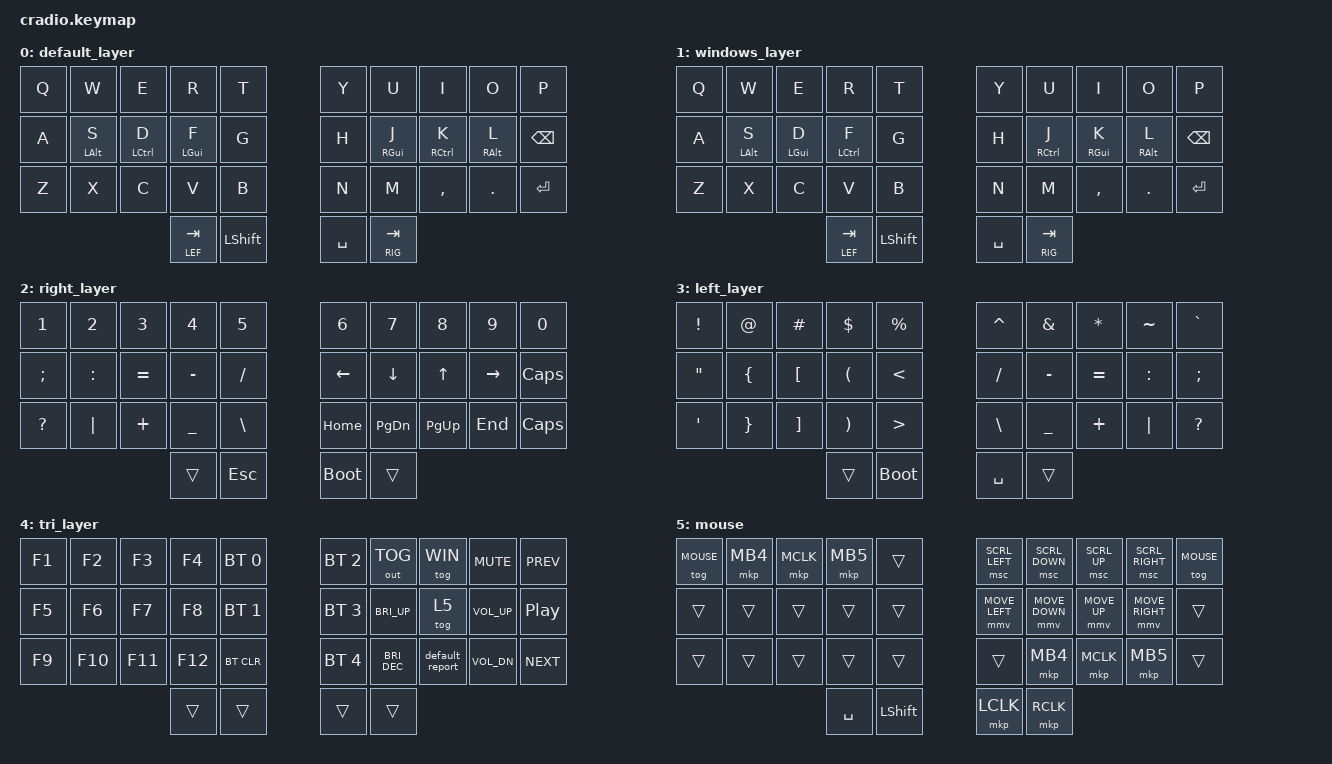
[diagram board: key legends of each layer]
// Copyright (c) 2022 The ZMK Contributors
// SPDX-License-Identifier: MIT

#define ZMK_MOUSE_DEFAULT_MOVE_VAL 2500  // 600
#define ZMK_MOUSE_DEFAULT_SCRL_VAL 20    // 10

#include <behaviors.dtsi>
#include <dt-bindings/zmk/bt.h>
#include <dt-bindings/zmk/keys.h>
#include <dt-bindings/zmk/mouse.h>
#include <dt-bindings/zmk/outputs.h>

#define MAC 0
#define WIN 1
#define RIG 2
#define LEF 3
#define TRI 4
#define MOUSE 5
#define U_MS_U &mmv MOVE_UP
#define U_MS_D &mmv MOVE_DOWN
#define U_MS_L &mmv MOVE_LEFT
#define U_MS_R &mmv MOVE_RIGHT
#define U_WH_U &msc SCRL_UP
#define U_WH_D &msc SCRL_DOWN
#define U_WH_L &msc SCRL_LEFT
#define U_WH_R &msc SCRL_RIGHT

/ {
    chosen { zmk,charmap = &charmap_us; };

    behaviors {
        ht: hold_tap {
            label = "hold_tap";
            compatible = "zmk,behavior-hold-tap";
            #binding-cells = <2>;
            flavor = "balanced";
            tapping-term-ms = <200>;
            quick-tap-ms = <80>;
            global-quick-tap;
            bindings = <&kp>, <&kp>;
        };

        mmv {
            acceleration-exponent = <1>;      // 1
            time-to-max-speed-ms = <300>;    // 40
            delay-ms = <0>;                   // 0
        };

        msc {
            acceleration-exponent = <0>;      // 0
            time-to-max-speed-ms = <40>;      // 500
            delay-ms = <0>;                   // 10
        };
    };

    conditional_layers {
        compatible = "zmk,conditional-layers";

        tri_layer {
            if-layers = <RIG LEF>;
            then-layer = <TRI>;
        };
    };

    keymap {
        compatible = "zmk,keymap";

        default_layer {
            bindings = <
&kp Q  &kp W       &kp E        &kp R        &kp T         &kp Y      &kp U        &kp I        &kp O       &kp P
&kp A  &ht LALT S  &ht LCTRL D  &ht LGUI F   &kp G         &kp H      &ht RGUI J   &ht RCTRL K  &ht RALT L  &kp BSPC
&kp Z  &kp X       &kp C        &kp V        &kp B         &kp N      &kp M        &kp COMMA    &kp DOT     &kp ENTER
                                &lt LEF TAB  &kp LSHIFT    &kp SPACE  &lt RIG TAB
            >;
        };

        windows_layer {
            bindings = <
&kp Q  &kp W       &kp E       &kp R        &kp T         &kp Y      &kp U        &kp I       &kp O       &kp P
&kp A  &ht LALT S  &ht LGUI D  &ht LCTRL F  &kp G         &kp H      &ht RCTRL J  &ht RGUI K  &ht RALT L  &kp BSPC
&kp Z  &kp X       &kp C       &kp V        &kp B         &kp N      &kp M        &kp COMMA   &kp DOT     &kp ENTER
                               &lt LEF TAB  &kp LSHIFT    &kp SPACE  &lt RIG TAB
            >;
        };

        right_layer {
            bindings = <
&kp N1         &kp N2     &kp N3     &kp N4          &kp N5                  &kp N6       &kp N7     &kp N8     &kp N9     &kp N0
&kp SEMI       &kp COLON  &kp EQUAL  &kp MINUS       &kp FSLH                &kp LEFT     &kp DOWN   &kp UP     &kp RIGHT  &kp CAPSLOCK
&kp QMARK      &kp PIPE   &kp PLUS   &kp UNDER       &kp BSLH                &kp HOME     &kp PG_DN  &kp PG_UP  &kp END    &kp CAPS
                                     &trans          &kp ESC                 &bootloader  &trans
            >;
        };

        left_layer {
            bindings = <
&kp EXCL  &kp AT           &kp HASH           &kp DLLR               &kp PRCNT           &kp CARET        &kp AMPS   &kp ASTRK  &kp TILDE  &kp GRAVE
&kp DQT   &kp LEFT_BRACE   &kp LEFT_BRACKET   &kp LEFT_PARENTHESIS   &kp LESS_THAN       &kp FSLH         &kp MINUS  &kp EQUAL  &kp COLON  &kp SEMI
&kp SQT   &kp RIGHT_BRACE  &kp RIGHT_BRACKET  &kp RIGHT_PARENTHESIS  &kp GREATER_THAN    &kp BSLH         &kp UNDER  &kp PLUS   &kp PIPE   &kp QMARK
                                              &trans                 &bootloader         &kp SPACE        &trans
            >;
        };

        tri_layer {
            bindings = <
&kp F1  &kp F2   &kp F3   &kp F4   &bt BT_SEL 0    &bt BT_SEL 2  &out OUT_TOG   &tog WIN         &kp C_MUTE    &kp C_PREV
&kp F5  &kp F6   &kp F7   &kp F8   &bt BT_SEL 1    &bt BT_SEL 3  &kp C_BRI_UP   &tog 5           &kp C_VOL_UP  &kp C_PP
&kp F9  &kp F10  &kp F11  &kp F12  &bt BT_CLR      &bt BT_SEL 4  &kp C_BRI_DEC  &default_report  &kp C_VOL_DN  &kp C_NEXT
                          &trans   &trans          &trans        &trans
            >;
        };

        mouse {
            bindings = <
&tog MOUSE  &mkp MB4  &mkp MCLK  &mkp MB5   &trans        &msc SCRL_LEFT  &msc SCRL_DOWN  &msc SCRL_UP  &msc SCRL_RIGHT  &tog MOUSE
&trans      &trans    &trans     &trans     &trans        &mmv MOVE_LEFT  &mmv MOVE_DOWN  &mmv MOVE_UP  &mmv MOVE_RIGHT  &trans
&trans      &trans    &trans     &trans     &trans        &trans          &mkp MB4        &mkp MCLK     &mkp MB5         &trans
                                 &kp SPACE  &kp LSHIFT    &mkp LCLK       &mkp RCLK
            >;
        };
    };
};
